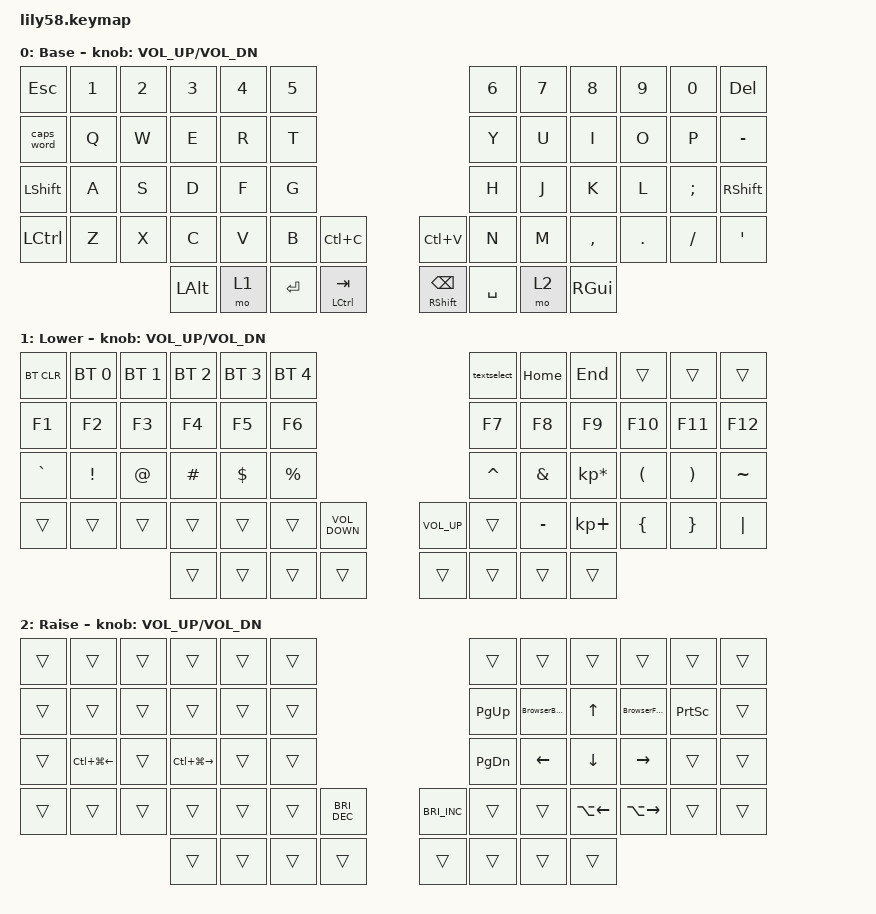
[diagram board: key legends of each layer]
/*
 * Copyright (c) 2020 The ZMK Contributors
 *
 * SPDX-License-Identifier: MIT
 */

#include <behaviors.dtsi>
#include <dt-bindings/zmk/bt.h>
#include <dt-bindings/zmk/keys.h>

/ {
    macros {
        textselect: WordHighlight {
            compatible = "zmk,behavior-macro";
            #binding-cells = <0>;
            bindings = <&kp LC(LS(LEFT))>;
            label = "WORDHIGHLIGHT";
        };

        BrowserForward: BrowserForward {
            compatible = "zmk,behavior-macro";
            #binding-cells = <0>;
            bindings = <&kp LC(TAB)>;
            label = "BROWSERFORWARD";
        };

        BrowserBackward: BrowserBackward {
            compatible = "zmk,behavior-macro";
            #binding-cells = <0>;
            bindings = <&kp LC(LS(TAB))>;
            label = "BROWSERBACKWARD";
        };
    };

    combos { compatible = "zmk,combos"; };

    keymap {
        compatible = "zmk,keymap";

        default_layer {
            // ------------------------------------------------------------------------------------------------------------
            // |  ESC  |  1  |  2  |  3   |  4   |  5   |                   |  6   |  7    |  8    |  9   |   0   |   `   |
            // |  TAB  |  Q  |  W  |  E   |  R   |  T   |                   |  Y   |  U    |  I    |  O   |   P   |   -   |
            // |  CTRL |  A  |  S  |  D   |  F   |  G   |                   |  H   |  J    |  K    |  L   |   ;   |   '   |
            // | SHIFT |  Z  |  X  |  C   |  V   |  B   |   "["  |  |  "]"  |  N   |  M    |  ,    |  .   |   /   | SHIFT |
            //                     | ALT  | GUI  | LOWER|  SPACE |  | ENTER | RAISE| BSPC  | GUI   |

            display-name = "Base";
            bindings = <
&kp ESC           &kp N1  &kp N2  &kp N3    &kp N4  &kp N5                                                        &kp N6     &kp N7  &kp N8     &kp N9   &kp N0    &kp DEL
&caps_word        &kp Q   &kp W   &kp E     &kp R   &kp T                                                         &kp Y      &kp U   &kp I      &kp O    &kp P     &kp MINUS
&kp LEFT_SHIFT    &kp A   &kp S   &kp D     &kp F   &kp G                                                         &kp H      &kp J   &kp K      &kp L    &kp SEMI  &kp RIGHT_SHIFT
&kp LEFT_CONTROL  &kp Z   &kp X   &kp C     &kp V   &kp B      &kp LC(C)               &kp LC(V)                  &kp N      &kp M   &kp COMMA  &kp DOT  &kp FSLH  &kp APOS
                                  &kp LALT  &mo 1   &kp ENTER  &mt LEFT_CONTROL TAB    &mt RIGHT_SHIFT BACKSPACE  &kp SPACE  &mo 2   &kp RGUI
            >;

            sensor-bindings = <&inc_dec_kp C_VOL_UP C_VOL_DN>;
        };

        lower_layer {
            // ------------------------------------------------------------------------------------------------------------
            // | BTCLR | BT1 | BT2 |  BT3 |  BT4 |  BT5 |                   |      |       |       |      |       |       |
            // |  F1   |  F2 |  F3 |  F4  |  F5  |  F6  |                   |  F7  |  F8   |  F9   |  F10 |  F11  |  F12  |
            // |   `   |  !  |  @  |  #   |  $   |  %   |                   |  ^   |  &    |  *    |  (   |   )   |   ~   |
            // |       |     |     |      |      |      |        |  |       |      |  _    |  +    |  {   |   }   |  "|"  |
            //                     |      |      |      |        |  |       |      |       |       |

            display-name = "Lower";
            bindings = <
&bt BT_CLR  &bt BT_SEL 0  &bt BT_SEL 1  &bt BT_SEL 2  &bt BT_SEL 3  &bt BT_SEL 4                                        &textselect  &kp HOME   &kp END          &trans    &trans    &trans
&kp F1      &kp F2        &kp F3        &kp F4        &kp F5        &kp F6                                              &kp F7       &kp F8     &kp F9           &kp F10   &kp F11   &kp F12
&kp GRAVE   &kp EXCL      &kp AT        &kp HASH      &kp DOLLAR    &kp PRCNT                                           &kp CARET    &kp AMPS   &kp KP_MULTIPLY  &kp LPAR  &kp RPAR  &kp TILDE
&trans      &trans        &trans        &trans        &trans        &trans        &kp C_VOLUME_DOWN    &kp C_VOLUME_UP  &trans       &kp MINUS  &kp KP_PLUS      &kp LBRC  &kp RBRC  &kp PIPE
                                        &trans        &trans        &trans        &trans               &trans           &trans       &trans     &trans
            >;

            sensor-bindings = <&inc_dec_kp C_VOL_UP C_VOL_DN>;
        };

        raise_layer {
            // ------------------------------------------------------------------------------------------------------------
            // |       |     |     |      |      |      |                   |      |       |       |      |       |       |
            // |   `   |  1  |  2  |  3   |  4   |  5   |                   |  6   |   7   |   8   |  9   |   0   |       |
            // |   F1  |  F2 |  F3 |  F4  |  F5  |  F6  |                   |      |   <-  |   v   |  ^   |  ->   |       |
            // |   F7  |  F8 |  F9 |  F10 |  F11 |  F12 |        |  |       |  +   |   -   |   =   |  [   |   ]   |   \   |
            //                     |      |      |      |        |  |       |      |       |       |

            display-name = "Raise";
            bindings = <
&trans  &trans                  &trans  &trans                   &trans  &trans                                                &trans         &trans            &trans        &trans           &trans           &trans
&trans  &trans                  &trans  &trans                   &trans  &trans                                                &kp PAGE_UP    &BrowserBackward  &kp UP_ARROW  &BrowserForward  &kp PRINTSCREEN  &trans
&trans  &kp LC(LG(LEFT_ARROW))  &trans  &kp LC(LG(RIGHT_ARROW))  &trans  &trans                                                &kp PAGE_DOWN  &kp LEFT          &kp DOWN      &kp RIGHT        &trans           &trans
&trans  &trans                  &trans  &trans                   &trans  &trans  &kp C_BRIGHTNESS_DEC    &kp C_BRIGHTNESS_INC  &trans         &trans            &kp LA(LEFT)  &kp LA(RIGHT)    &trans           &trans
                                        &trans                   &trans  &trans  &trans                  &trans                &trans         &trans            &trans
            >;

            sensor-bindings = <&inc_dec_kp C_VOL_UP C_VOL_DN>;
        };
    };
};
